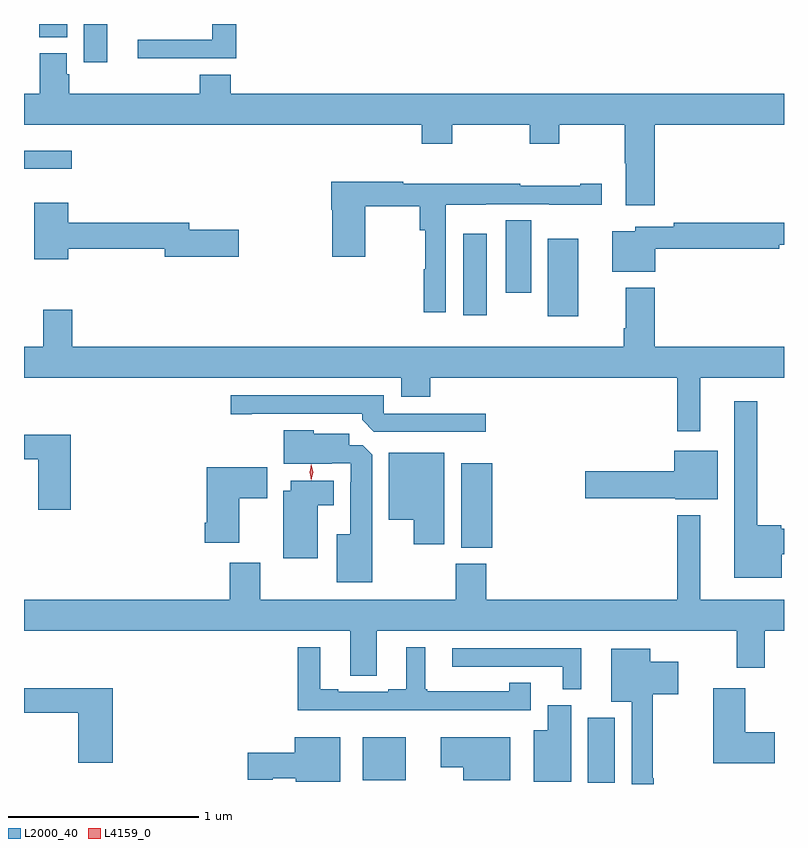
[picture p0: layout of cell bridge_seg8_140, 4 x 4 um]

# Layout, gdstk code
import gdstk
lib = gdstk.Library(unit=1e-6, precision=1e-09)
def R(c, l, rs):  # rectangles x0, y0, x1, y1
    for r in rs: c.add(gdstk.rectangle(r[:2], r[2:], *l))
def P(c, l, *ps):  # polygons
    for p in ps: c.add(gdstk.Polygon(p, *l))
L2000_40 = (2000, 40)
L4159_0 = (4159, 0)

bridge_seg8_140 = lib.new_cell('bridge_seg8_140')
R(bridge_seg8_140, L2000_40, [(497.906,1137.013,498.049,1137.355), (496.721,1137.026,496.948,1137.253), (497.24,1138.249,497.403,1138.693), (497.696,1139.469,497.857,1139.875), (497.252,1139.472,497.374,1139.902), (497.474,1139.592,497.608,1139.972), (494.939,1140.243,495.19,1140.34), (495.254,1140.804,495.376,1141.006), (495.02,1140.937,495.166,1141.006)])
P(bridge_seg8_140, L2000_40, [(496.055,1141.006),(495.929,1141.006),(495.929,1140.924),(495.537,1140.924),(495.537,1140.827),(496.055,1140.827)],
  [(498.26,1140.476),(498.939,1140.476),(498.939,1140.64),(496.028,1140.64),(496.028,1140.739),(495.863,1140.739),(495.863,1140.64),(495.176,1140.64),(495.176,1140.741),(495.163,1140.741),(495.163,1140.852),(495.023,1140.852),(495.023,1140.64),(494.939,1140.64),(494.939,1140.476),(497.033,1140.476),(497.033,1140.377),(497.193,1140.377),(497.193,1140.476),(497.602,1140.476),(497.602,1140.377),(497.757,1140.377),(497.757,1140.476),(498.1,1140.476),(498.1,1140.272),(498.107,1140.272),(498.107,1140.051),(498.26,1140.051)],
  [(497.16,1140.056),(497.37,1140.056),(497.37,1140.057),(497.704,1140.057),(497.704,1140.056),(497.98,1140.056),(497.98,1140.166),(497.867,1140.166),(497.867,1140.156),(497.552,1140.156),(497.552,1140.166),(497.136,1140.166),(497.136,1140.164),(496.934,1140.164),(496.934,1140.175),(496.556,1140.175),(496.556,1140.029),(496.561,1140.029),(496.561,1139.781),(496.734,1139.781),(496.734,1140.046),(497.023,1140.046),(497.023,1139.921),(497.052,1139.921),(497.052,1139.714),(497.044,1139.714),(497.044,1139.49),(497.16,1139.49)],
  [(495.172,1139.824),(495.68,1139.824),(495.68,1139.782),(496.069,1139.782),(496.069,1139.924),(495.808,1139.924),(495.808,1139.96),(495.172,1139.96),(495.172,1140.064),(494.993,1140.064),(494.993,1139.768),(495.172,1139.768)],
  [(498.262,1139.824),(498.914,1139.824),(498.914,1139.844),(498.939,1139.844),(498.939,1139.96),(498.358,1139.96),(498.358,1139.94),(498.156,1139.94),(498.156,1139.914),(498.035,1139.914),(498.035,1139.702),(498.262,1139.702)],
  [(498.499,1139.144),(498.939,1139.144),(498.939,1139.308),(498.26,1139.308),(498.26,1139.617),(498.107,1139.617),(498.107,1139.404),(498.095,1139.404),(498.095,1139.308),(495.194,1139.308),(495.194,1139.503),(495.041,1139.503),(495.041,1139.308),(494.939,1139.308),(494.939,1139.144),(496.925,1139.144),(496.925,1139.045),(497.078,1139.045),(497.078,1139.144),(498.378,1139.144),(498.378,1138.863),(498.499,1138.863)],
  [(497.368,1138.956),(496.833,1138.956),(496.833,1139.052),(496.026,1139.052),(496.026,1138.951),(496.138,1138.951),(496.138,1138.956),(496.718,1138.956),(496.718,1138.922),(496.779,1138.86),(497.368,1138.86)],
  [(498.928,1138.214),(498.939,1138.214),(498.939,1138.349),(498.924,1138.349),(498.924,1138.367),(498.799,1138.367),(498.799,1139.02),(498.677,1139.02),(498.677,1138.091),(498.928,1138.091)],
  [(496.771,1138.739),(496.722,1138.788),(496.651,1138.788),(496.651,1138.849),(496.464,1138.849),(496.464,1138.867),(496.307,1138.867),(496.307,1138.691),(496.559,1138.691),(496.559,1138.695),(496.659,1138.695),(496.659,1138.595),(496.655,1138.595),(496.655,1138.321),(496.586,1138.321),(496.586,1138.067),(496.771,1138.067)],
  [(495.185,1138.843),(494.939,1138.843),(494.939,1138.714),(495.014,1138.714),(495.014,1138.449),(495.185,1138.449)],
  [(498.589,1138.759),(498.362,1138.759),(498.362,1138.653),(497.892,1138.653),(497.892,1138.511),(498.366,1138.511),(498.366,1138.505),(498.589,1138.505)],
  [(497.152,1138.75),(496.859,1138.75),(496.859,1138.397),(496.991,1138.397),(496.991,1138.269),(497.152,1138.269)],
  [(496.072,1138.51),(496.219,1138.51),(496.219,1138.672),(495.902,1138.672),(495.902,1138.381),(495.89,1138.381),(495.89,1138.277),(496.072,1138.277)],
  [(496.486,1138.472),(496.57,1138.472),(496.57,1138.603),(496.343,1138.603),(496.343,1138.549),(496.304,1138.549),(496.304,1138.193),(496.486,1138.193)],
  [(496.795,1137.812),(498.691,1137.812),(498.691,1137.618),(498.838,1137.618),(498.838,1137.812),(498.939,1137.812),(498.939,1137.976),(498.499,1137.976),(498.499,1138.42),(498.378,1138.42),(498.378,1137.976),(497.372,1137.976),(497.372,1138.164),(497.212,1138.164),(497.212,1137.976),(496.182,1137.976),(496.182,1138.171),(496.022,1138.171),(496.022,1137.976),(494.939,1137.976),(494.939,1137.812),(496.655,1137.812),(496.655,1137.577),(496.795,1137.577)],
  [(497.605,1137.539),(497.492,1137.539),(497.492,1137.493),(497.062,1137.493),(497.062,1137.505),(497.05,1137.505),(497.05,1137.727),(496.952,1137.727),(496.952,1137.505),(496.856,1137.505),(496.856,1137.492),(496.594,1137.492),(496.594,1137.505),(496.498,1137.505),(496.498,1137.727),(496.381,1137.727),(496.381,1137.395),(497.605,1137.395)],
  [(497.872,1137.72),(497.193,1137.72),(497.193,1137.624),(497.774,1137.624),(497.774,1137.505),(497.872,1137.505)],
  [(498.254,1137.035),(498.247,1137.035),(498.247,1137.479),(498.382,1137.479),(498.382,1137.649),(498.235,1137.649),(498.235,1137.718),(498.029,1137.718),(498.029,1137.44),(498.138,1137.44),(498.138,1137.006),(498.254,1137.006)],
  [(498.889,1137.279),(498.736,1137.279),(498.736,1137.511),(498.566,1137.511),(498.566,1137.116),(498.889,1137.116)],
  [(495.407,1137.511),(494.939,1137.511),(494.939,1137.382),(495.224,1137.382),(495.224,1137.117),(495.407,1137.117)],
  [(497.818,1137.42),(497.696,1137.42),(497.696,1137.289),(497.621,1137.289),(497.621,1137.017),(497.818,1137.017)],
  [(497.497,1137.253),(497.133,1137.253),(497.133,1137.095),(497.252,1137.095),(497.252,1137.026),(497.497,1137.026)],
  [(496.603,1137.253),(496.364,1137.253),(496.364,1137.17),(496.116,1137.17),(496.116,1137.028),(496.248,1137.028),(496.248,1137.035),(496.368,1137.035),(496.368,1137.017),(496.603,1137.017)])
P(bridge_seg8_140, L4159_0, [(496.452,1138.606),(496.452,1138.606),(496.442,1138.647),(496.452,1138.688),(496.452,1138.688),(496.452,1138.688),(496.462,1138.647),(496.452,1138.606)])

lib.write_gds('bridge_seg8_140.gds')
